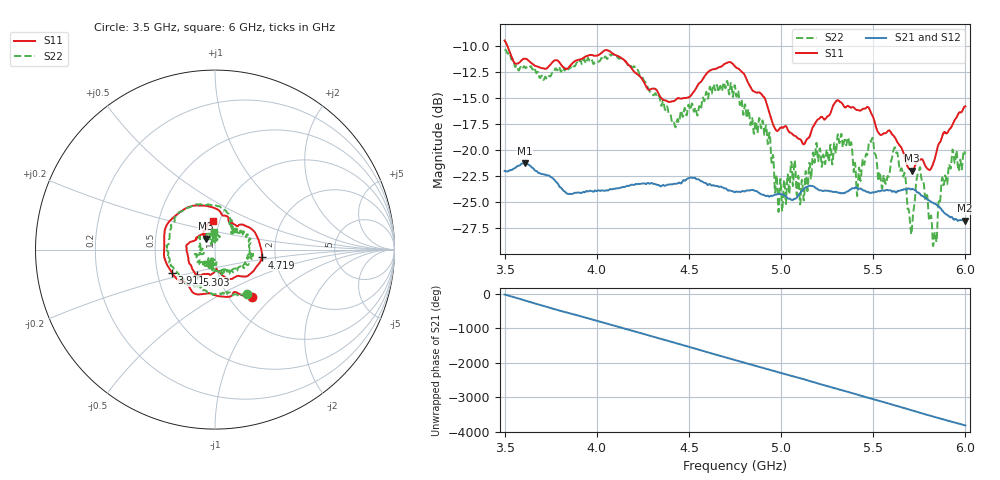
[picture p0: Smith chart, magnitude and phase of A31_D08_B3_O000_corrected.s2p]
! Created with skrf 1.9.0 (http://scikit-rf.org).
# Hz S RI R 50.0
!freq ReS11 ImS11 ReS21 ImS21 ReS12 ImS12 ReS22 ImS22
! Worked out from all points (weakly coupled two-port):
!   1601 points, 3.5 GHz to 6 GHz, reference 50 ohm
!   highest |S21| = -21.23 dB at 3.609 GHz (marker M1); lowest = -26.8 dB at 5.997 GHz (marker M2)
!   lowest |S11| = -22.0 dB at 5.709 GHz (marker M3), VSWR 1.17, Z = 44.8 + j5.48 ohm
!   |S11| at or under -10 dB: 3.515 GHz to end of sweep
!   |S22| runs from -29.2 to -10.3 dB; largest |S21 - S12| = 0.0011
!   S11 on the Smith chart (normalised r, x): 3.5 GHz: 1.26, -0.76; 3.911 GHz: 0.60, -0.17; 4.719 GHz: 1.69, -0.16; 5.303 GHz: 0.79, -0.23; 6 GHz: 0.93, +0.31
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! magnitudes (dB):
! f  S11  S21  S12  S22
! 3.5 GHz  -9.5  -22.0  -22.0  -10.3
! 3.609 GHz  -11.2  -21.2  -21.2  -12.0
! 3.911 GHz  -11.3  -24.1  -24.1  -11.4
! 3.917 GHz  -11.3  -24.1  -24.1  -11.7
! 4.334 GHz  -14.5  -23.3  -23.3  -14.8
! 4.422 GHz  -15.3  -23.2  -23.2  -17.6
! 4.719 GHz  -11.6  -23.9  -23.9  -14.7
! 4.75 GHz  -12.0  -24.0  -24.0  -13.9
! 4.928 GHz  -15.9  -24.4  -24.4  -19.4
! 4.995 GHz  -17.8  -24.2  -24.2  -22.8
! 5.167 GHz  -18.0  -23.4  -23.4  -21.7
! 5.303 GHz  -15.2  -24.0  -24.0  -19.2
! 5.419 GHz  -16.2  -23.7  -23.8  -22.8
! 5.489 GHz  -16.5  -24.1  -24.1  -19.2
! 5.584 GHz  -18.1  -23.8  -23.8  -22.5
! 5.623 GHz  -19.0  -24.1  -24.0  -20.1
! 5.709 GHz  -22.0  -23.7  -23.7  -27.7
! 5.752 GHz  -20.9  -24.1  -24.1  -21.7
! 5.834 GHz  -20.8  -25.1  -25.1  -27.9
! 5.88 GHz  -18.4  -25.9  -25.9  -23.1
! 5.997 GHz  -15.8  -26.8  -26.7  -20.3
! 6 GHz  -15.8  -26.8  -26.7  -20.3
